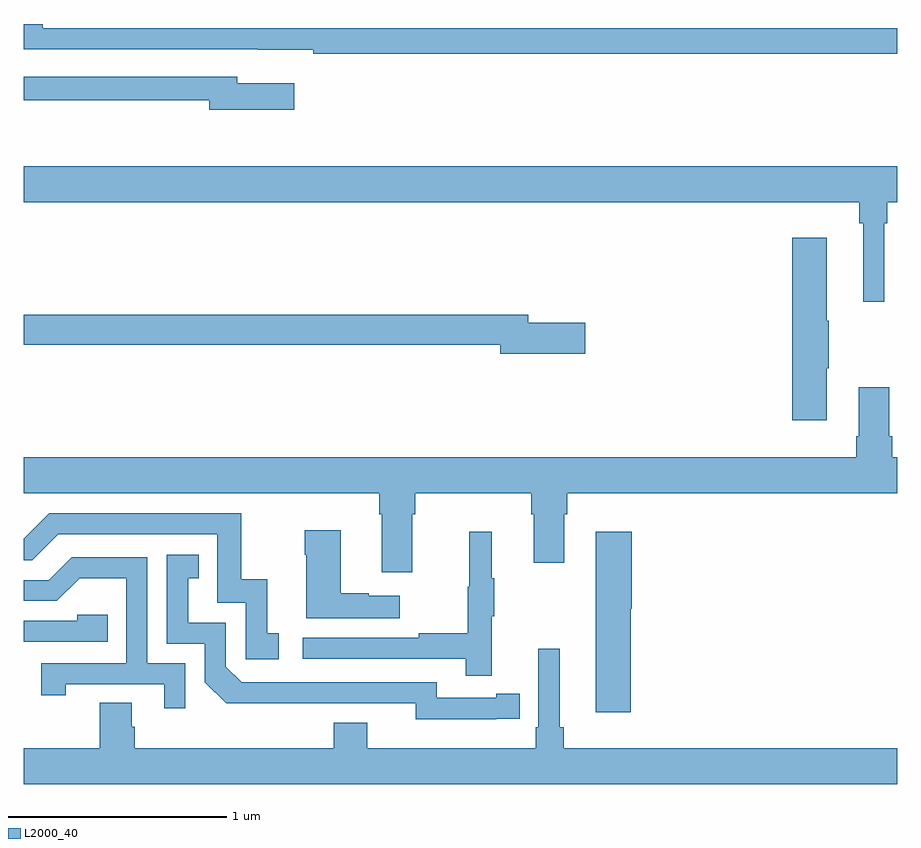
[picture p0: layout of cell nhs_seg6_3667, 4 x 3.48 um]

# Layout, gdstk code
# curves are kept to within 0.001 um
import gdstk
lib = gdstk.Library(unit=1e-6, precision=1e-09)
def P(c, l, *ps):  # polygons
    for p in ps: c.add(gdstk.Polygon(p, *l))
L2000_40 = (2000, 40)

nhs_seg6_3667 = lib.new_cell('nhs_seg6_3667')
P(nhs_seg6_3667, L2000_40, [(329,949.464),(325.088,949.464),(325.088,949.484),(325,949.484),(325,949.368),(326.074,949.368),(326.074,949.367),(326.326,949.367),(326.326,949.348),(329,949.348)],
  [(326.239,949.213),(325.978,949.213),(325.978,949.242),(325,949.242),(325,949.134),(325.85,949.134),(325.85,949.091),(326.239,949.091)],
  [(325,948.668),(328.825,948.668),(328.825,948.572),(328.844,948.572),(328.844,948.213),(328.941,948.213),(328.941,948.572),(328.955,948.572),(328.955,948.668),(329,948.668),(329,948.832),(325,948.832)],
  [(328.678,947.908),(328.686,947.908),(328.686,948.125),(328.678,948.125),(328.678,948.505),(328.52,948.505),(328.52,947.67),(328.678,947.67)],
  [(327.571,948.116),(327.31,948.116),(327.31,948.152),(325,948.152),(325,948.016),(327.182,948.016),(327.182,947.974),(327.571,947.974)],
  [(326.779,947.24),(326.792,947.24),(326.792,947.336),(327.323,947.336),(327.323,947.24),(327.335,947.24),(327.335,947.016),(327.475,947.016),(327.475,947.24),(327.488,947.24),(327.488,947.336),(329,947.336),(329,947.5),(328.976,947.5),(328.976,947.596),(328.963,947.596),(328.963,947.821),(328.823,947.821),(328.823,947.596),(328.811,947.596),(328.811,947.5),(325,947.5),(325,947.336),(326.627,947.336),(326.627,947.24),(326.639,947.24),(326.639,946.974),(326.779,946.974)],
  [(326.167,946.695),(326.114,946.695),(326.114,946.942),(325.996,946.942),(325.996,947.244),(325.116,947.244),(325,947.128),(325,947.028),(325.038,947.028),(325.158,947.148),(325.887,947.148),(325.887,946.833),(326.016,946.833),(326.016,946.575),(326.167,946.575)],
  [(326.722,946.867),(326.579,946.867),(326.579,946.877),(326.452,946.877),(326.452,947.167),(326.287,947.167),(326.287,947.054),(326.294,947.054),(326.294,946.763),(326.722,946.763)],
  [(327.143,946.771),(327.154,946.771),(327.154,946.945),(327.143,946.945),(327.143,947.158),(327.04,947.158),(327.04,946.908),(327.033,946.908),(327.033,946.694),(326.809,946.694),(326.809,946.674),(326.277,946.674),(326.277,946.578),(327.025,946.578),(327.025,946.5),(327.143,946.5)],
  [(327.779,946.806),(327.784,946.806),(327.784,947.158),(327.62,947.158),(327.62,946.332),(327.779,946.332)],
  [(327.164,946.302),(327.272,946.302),(327.272,946.418),(327.164,946.418),(327.164,946.398),(326.892,946.398),(326.892,946.47),(325.998,946.47),(325.926,946.542),(325.926,946.743),(325.753,946.743),(325.753,946.947),(325.802,946.947),(325.802,947.053),(325.656,947.053),(325.656,946.647),(325.83,946.647),(325.83,946.47),(325.928,946.373),(326.796,946.374),(326.796,946.301)],
  [(325.74,946.557),(325.566,946.557),(325.566,947.043),(325.22,947.043),(325.115,946.938),(325,946.938),(325,946.842),(325.152,946.842),(325.256,946.946),(325.47,946.946),(325.47,946.557),(325.081,946.557),(325.081,946.41),(325.192,946.41),(325.192,946.461),(325.643,946.461),(325.643,946.35),(325.74,946.35)],
  [(325.385,946.779),(325.245,946.779),(325.245,946.752),(325,946.752),(325,946.656),(325.385,946.656)],
  [(329,946.168),(327.473,946.168),(327.473,946.264),(327.454,946.264),(327.454,946.624),(327.357,946.624),(327.357,946.264),(327.344,946.264),(327.344,946.168),(326.572,946.168),(326.572,946.285),(326.42,946.285),(326.42,946.168),(325.508,946.168),(325.508,946.266),(325.495,946.266),(325.495,946.376),(325.348,946.376),(325.348,946.168),(325,946.168),(325,946.004),(329,946.004)])

lib.write_gds('nhs_seg6_3667.gds')
